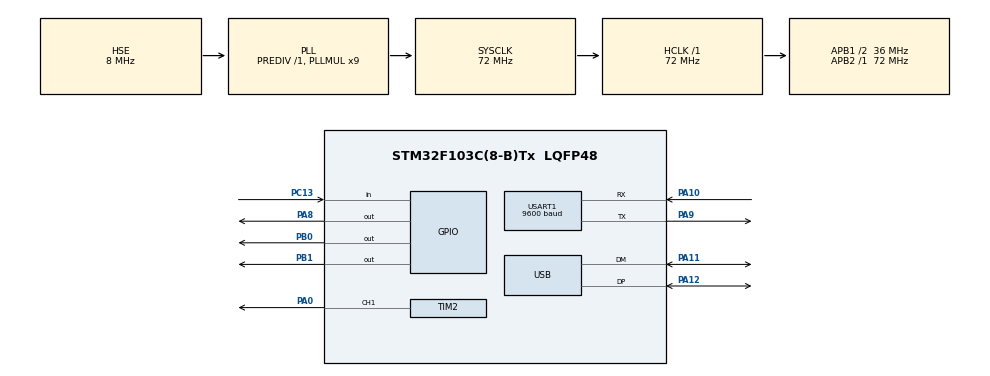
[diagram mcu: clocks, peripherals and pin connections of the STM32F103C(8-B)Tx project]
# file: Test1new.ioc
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Mcu.Family=STM32F1
Mcu.Name=STM32F103C(8-B)Tx
Mcu.Package=LQFP48
NVIC.PriorityGroup=NVIC_PRIORITYGROUP_4
NVIC.TIM2_IRQn=true\:0\:0\:false\:false\:true\:true\:true\:true
NVIC.USART1_IRQn=true\:0\:0\:false\:false\:true\:true\:true\:true
NVIC.USB_LP_CAN1_RX0_IRQn=true\:0\:0\:false\:false\:true\:false\:true\:true
PA0-WKUP.Signal=S_TIM2_CH1_ETR
PA10.Mode=Asynchronous
PA10.Signal=USART1_RX
PA11.Mode=Device
PA11.Signal=USB_DM
PA12.Mode=Device
PA12.Signal=USB_DP
PA8.Signal=GPIO_Output
PA9.Mode=Asynchronous
PA9.Signal=USART1_TX
PB0.Signal=GPIO_Output
PB1.Signal=GPIO_Output
PC13-TAMPER-RTC.GPIO_PuPd=GPIO_PULLUP
PC13-TAMPER-RTC.Signal=GPIO_Input
PD0-OSC_IN.Mode=HSE-External-Oscillator
PD0-OSC_IN.Signal=RCC_OSC_IN
PD1-OSC_OUT.Mode=HSE-External-Oscillator
PD1-OSC_OUT.Signal=RCC_OSC_OUT
ProjectManager.HeapSize=0x200
ProjectManager.StackSize=0x400
ProjectManager.TargetToolchain=CMake
RCC.AHBFreq_Value=72000000
RCC.APB1CLKDivider=RCC_HCLK_DIV2
RCC.APB1Freq_Value=36000000
RCC.APB1TimFreq_Value=72000000
RCC.APB2Freq_Value=72000000
RCC.APB2TimFreq_Value=72000000
RCC.HCLKFreq_Value=72000000
RCC.PLLMUL=RCC_PLL_MUL9
RCC.PLLSourceVirtual=RCC_PLLSOURCE_HSE
RCC.SYSCLKFreq_VALUE=72000000
RCC.SYSCLKSource=RCC_SYSCLKSOURCE_PLLCLK
RCC.USBFreq_Value=48000000
RCC.USBPrescaler=RCC_USBCLKSOURCE_PLL_DIV1_5
SH.S_TIM2_CH1_ETR.0=TIM2_CH1,Output Compare1 CH1
TIM2.Channel-Output\ Compare1\ CH1=TIM_CHANNEL_1
TIM2.Period=10
TIM2.Prescaler=7199
USART1.BaudRate=9600
USART1.VirtualMode=VM_ASYNC
USB_DEVICE.CLASS_NAME_FS=CDC
USB_DEVICE.VirtualMode=Cdc
USB_DEVICE.VirtualModeFS=Cdc_FS
VP_SYS_VS_ND.Mode=No_Debug
VP_TIM2_VS_ClockSourceINT.Mode=Internal
VP_USB_DEVICE_VS_USB_DEVICE_CDC_FS.Mode=CDC_FS
board=custom

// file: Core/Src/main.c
/* USER CODE BEGIN Header */
/**
  ******************************************************************************
  * @file           : main.c
  * @brief          : Main program body
  ******************************************************************************
  * @attention
  *
  * Copyright (c) 2024 STMicroelectronics.
  * All rights reserved.
  *
  * This software is licensed under terms that can be found in the LICENSE file
  * in the root directory of this software component.
  * If no LICENSE file comes with this software, it is provided AS-IS.
  *
  ******************************************************************************
  */
/* USER CODE END Header */
#include "main.h"
#include "usb_device.h"

/* USER CODE BEGIN Includes */
#include <stdio.h>      // add for printf
#include <string.h>
/* USER CODE END Includes */

TIM_HandleTypeDef htim2;

UART_HandleTypeDef huart1;

/* USER CODE BEGIN PV */
uint8_t uart_buf[1];
uint8_t uart_Morse_Token_index;
uint8_t ticks;  // timer2 ticks
uint8_t MorseMode = 0;
uint8_t SM_State; // State for the State Machine
uint8_t User_B_Pressed = 0;  // flag for button
/* USER CODE END PV */

void SystemClock_Config(void);
static void MX_GPIO_Init(void);
static void MX_USART1_UART_Init(void);
static void MX_TIM2_Init(void);

/* USER CODE BEGIN 0 */

#ifdef __GNUC__
#define PUTCHAR_PROTOTYPE int __io_putchar(int ch)
#else
#define PUTCHAR_PROTOTYPE int fputc(int ch, FILE *f)
#endif

/**
  * @brief  Retargets the C library printf function to the USART.
  * @param  None
  * @retval None
  */
PUTCHAR_PROTOTYPE
{
  HAL_UART_Transmit(&huart1, (uint8_t *)&ch, 1, 0xFFFF);
  return ch;
}

/* also redefine _write for printf*/
int _write(int fd, char * ptr, int len)
{
  HAL_UART_Transmit(&huart1, (uint8_t *) ptr, len, HAL_MAX_DELAY);
  return len;
}

/* Callback function for UART RX Complete: process incoming character*/
void HAL_UART_RxCpltCallback(UART_HandleTypeDef *huart)
{
  if(uart_buf[0] == '?'){
    printf("Sw Version %d.%d\r\n",SW_VERSION/10, SW_VERSION%10);
  }
  else{
    switch(uart_Morse_Token_index){
      case 0:
        if(uart_buf[0] == 'M'){
          uart_Morse_Token_index++;
          HAL_UART_Receive_IT(&huart1, uart_buf, 1); // reactivate interrupt for next char
          return;
        }
        break;
      case 1:
        if(uart_buf[0] == 'o'){
          uart_Morse_Token_index++;
          HAL_UART_Receive_IT(&huart1, uart_buf, 1); // reactivate interrupt for next char
          return;
        }
        break;
      case 2:
        if(uart_buf[0] == 'r'){
          uart_Morse_Token_index++;
          HAL_UART_Receive_IT(&huart1, uart_buf, 1); // reactivate interrupt for next char
          return;
        }
        break;
      case 3:
        if(uart_buf[0] == 's'){
          uart_Morse_Token_index++;
          HAL_UART_Receive_IT(&huart1, uart_buf, 1); // reactivate interrupt for next char
          return;
        }
        break;
      case 4:
        if(uart_buf[0] == 'e'){
          uart_Morse_Token_index = 0;
          MorseMode = 1;
          HAL_UART_Receive_IT(&huart1, uart_buf, 1); // reactivate interrupt for next char
          return;
        }
        break;
    }

    uart_Morse_Token_index = 0;
    uart_buf[0]++;  // increment received char to transmit next one
    HAL_UART_Transmit(&huart1, uart_buf, 1, 10);
  }

  HAL_UART_Receive_IT(&huart1, uart_buf, 1); // reactivate interrupt for next char
}

void Morse_Code_State_Switcher(){
  // Team code 17 = 3k+2  =>  mesaj = "hello 17"
  // t = 150ms
  const char morse_message[] = ".... . ._.. ._.. ___   .____ __...";
  uint8_t previous_SM_State = SM_State;
  for(int i = 0 ; i < 35 ; i++){
    switch(morse_message[i]){
      case '.':
        SM_State = SM_BLUE;
        HAL_Delay(75);
        SM_State = SM_OFF;
        HAL_Delay(75);
        break;
      case '_':
        SM_State = SM_YELLOW;
        HAL_Delay(375);
        SM_State = SM_OFF;
        HAL_Delay(75);
        break;
      case ' ':
        SM_State = SM_OFF;
        HAL_Delay(150);
        break;
    }
  }
  SM_State = previous_SM_State;
  MorseMode = 0;
}

/* Timer2 Interrupt Service Routine: Blinks LEDs */
// Team code 17 = 3k+2  =>  colors: BLUE, YELLOW, MAGENTA
void HAL_TIM_PeriodElapsedCallback(TIM_HandleTypeDef *htim2)
{
  if(ticks++ == 10)    // 1 timer2 tick = 1 ms
    ticks=0;   // reset
  switch (SM_State) {
    case SM_BLUE:
      HAL_GPIO_WritePin(RED_LED_BANK, RED_LED_PIN, 0);
      HAL_GPIO_WritePin(GREEN_LED_BANK, GREEN_LED_PIN, 0);
      HAL_GPIO_WritePin(BLUE_LED_BANK, BLUE_LED_PIN, 1);
      break;
    case SM_YELLOW:
      HAL_GPIO_WritePin(RED_LED_BANK, RED_LED_PIN, ticks < 8);
      HAL_GPIO_WritePin(GREEN_LED_BANK, GREEN_LED_PIN, ticks > 4);
      HAL_GPIO_WritePin(BLUE_LED_BANK, BLUE_LED_PIN, 0);
      break;
    case SM_MAGENTA:
      HAL_GPIO_WritePin(RED_LED_BANK, RED_LED_PIN, ticks < 5);
      HAL_GPIO_WritePin(GREEN_LED_BANK, GREEN_LED_PIN, 0);
      HAL_GPIO_WritePin(BLUE_LED_BANK, BLUE_LED_PIN, ticks > 4);
      break;
    case SM_OFF:
      HAL_GPIO_WritePin(RED_LED_BANK, RED_LED_PIN, 0);
      HAL_GPIO_WritePin(GREEN_LED_BANK, GREEN_LED_PIN, 0);
      HAL_GPIO_WritePin(BLUE_LED_BANK, BLUE_LED_PIN, 0);
      break;
  }  // case
}

/* USER CODE END 0 */

int main(void)
{
  /* USER CODE BEGIN 1 */
  /****************************************************************************/
  /********************************      MAIN        **************************/
  /****************************************************************************/

  /* USER CODE END 1 */

  /* MCU Configuration--------------------------------------------------------*/

  /* Reset of all peripherals, Initializes the Flash interface and the Systick. */
  HAL_Init();

  /* Configure the system clock */
  SystemClock_Config();

  /* Initialize all configured peripherals */
  MX_GPIO_Init();
  MX_USART1_UART_Init();
  MX_USB_DEVICE_Init();
  MX_TIM2_Init();
  /* USER CODE BEGIN 2 */
  HAL_UART_Receive_IT(&huart1, uart_buf, 1); // enable UART Rx IT=interrupt
  HAL_TIM_Base_Start_IT(&htim2);  //enable Timer 2 interrupt

  uart_Morse_Token_index = 0;
  MorseMode = 0;
  /* USER CODE END 2 */

  /* Infinite loop */
  /* USER CODE BEGIN WHILE */

  /*********************************** main loop *************************************************/
  while (1)
  {
    /* USER CODE END WHILE */

    /* USER CODE BEGIN 3 */
    if( HAL_GPIO_ReadPin(GPIOC, GPIO_PIN_13) == GPIO_PIN_RESET ) {     // PORTC.13 ==0 means button pressed
        HAL_Delay(25);                                                 // wait 25 milliseconds
        if( HAL_GPIO_ReadPin(GPIOC, GPIO_PIN_13) == GPIO_PIN_RESET ) { // then read again for debouncing
          while( HAL_GPIO_ReadPin(GPIOC, GPIO_PIN_13) == GPIO_PIN_RESET); // wait for button release
          User_B_Pressed = 1;
          printf("USER\n\r");
        }
    }

    if(MorseMode) Morse_Code_State_Switcher();        // Doing this here so that I don't have to bother with interrupt priorities.
                                                      // It also blocks out the following switch statement, which is ok because I
                                                      // want the USER button to not do anything while it's blinking morse code.

    switch(SM_State) {     // main State Machine
      case SM_START:
        printf("Code version %d.%d starting...\n\r", SW_VERSION/10, SW_VERSION%10);
        SM_State=SM_BLUE;
        break;

      case SM_BLUE:
        if(User_B_Pressed) {
          User_B_Pressed = 0; // reset flag because it was processed
          SM_State = SM_YELLOW;
        }
        break;

      case SM_YELLOW:
        if(User_B_Pressed) {
          User_B_Pressed = 0;
          SM_State = SM_MAGENTA;
        }
        break;

      case SM_MAGENTA:
        if(User_B_Pressed) {
          User_B_Pressed = 0;
          SM_State = SM_OFF;
        }
        break;

      case SM_OFF:
        if(User_B_Pressed) {
          User_B_Pressed = 0;
          SM_State = SM_BLUE;
        }
        break;

      default:  // this shouldn't happen
        SM_State = SM_START;
    } // switch

  }
  /* USER CODE END 3 */
}

void SystemClock_Config(void)
{
  RCC_OscInitTypeDef RCC_OscInitStruct = {0};
  RCC_ClkInitTypeDef RCC_ClkInitStruct = {0};
  RCC_PeriphCLKInitTypeDef PeriphClkInit = {0};

  /** Initializes the RCC Oscillators according to the specified parameters
  * in the RCC_OscInitTypeDef structure.
  */
  RCC_OscInitStruct.OscillatorType = RCC_OSCILLATORTYPE_HSE;
  RCC_OscInitStruct.HSEState = RCC_HSE_ON;
  RCC_OscInitStruct.HSEPredivValue = RCC_HSE_PREDIV_DIV1;
  RCC_OscInitStruct.HSIState = RCC_HSI_ON;
  RCC_OscInitStruct.PLL.PLLState = RCC_PLL_ON;
  RCC_OscInitStruct.PLL.PLLSource = RCC_PLLSOURCE_HSE;
  RCC_OscInitStruct.PLL.PLLMUL = RCC_PLL_MUL9;
  if (HAL_RCC_OscConfig(&RCC_OscInitStruct) != HAL_OK)
  {
    Error_Handler();
  }

  /** Initializes the CPU, AHB and APB buses clocks
  */
  RCC_ClkInitStruct.ClockType = RCC_CLOCKTYPE_HCLK|RCC_CLOCKTYPE_SYSCLK
                              |RCC_CLOCKTYPE_PCLK1|RCC_CLOCKTYPE_PCLK2;
  RCC_ClkInitStruct.SYSCLKSource = RCC_SYSCLKSOURCE_PLLCLK;
  RCC_ClkInitStruct.AHBCLKDivider = RCC_SYSCLK_DIV1;
  RCC_ClkInitStruct.APB1CLKDivider = RCC_HCLK_DIV2;
  RCC_ClkInitStruct.APB2CLKDivider = RCC_HCLK_DIV1;

  if (HAL_RCC_ClockConfig(&RCC_ClkInitStruct, FLASH_LATENCY_2) != HAL_OK)
  {
    Error_Handler();
  }
  PeriphClkInit.PeriphClockSelection = RCC_PERIPHCLK_USB;
  PeriphClkInit.UsbClockSelection = RCC_USBCLKSOURCE_PLL_DIV1_5;
  if (HAL_RCCEx_PeriphCLKConfig(&PeriphClkInit) != HAL_OK)
  {
    Error_Handler();
  }
}

static void MX_TIM2_Init(void)
{

  TIM_ClockConfigTypeDef sClockSourceConfig = {0};
  TIM_MasterConfigTypeDef sMasterConfig = {0};
  TIM_OC_InitTypeDef sConfigOC = {0};

  htim2.Instance = TIM2;
  htim2.Init.Prescaler = 7199;
  htim2.Init.CounterMode = TIM_COUNTERMODE_UP;
  htim2.Init.Period = 10;
  htim2.Init.ClockDivision = TIM_CLOCKDIVISION_DIV1;
  htim2.Init.AutoReloadPreload = TIM_AUTORELOAD_PRELOAD_DISABLE;
  if (HAL_TIM_Base_Init(&htim2) != HAL_OK)
  {
    Error_Handler();
  }
  sClockSourceConfig.ClockSource = TIM_CLOCKSOURCE_INTERNAL;
  if (HAL_TIM_ConfigClockSource(&htim2, &sClockSourceConfig) != HAL_OK)
  {
    Error_Handler();
  }
  if (HAL_TIM_OC_Init(&htim2) != HAL_OK)
  {
    Error_Handler();
  }
  sMasterConfig.MasterOutputTrigger = TIM_TRGO_RESET;
  sMasterConfig.MasterSlaveMode = TIM_MASTERSLAVEMODE_DISABLE;
  if (HAL_TIMEx_MasterConfigSynchronization(&htim2, &sMasterConfig) != HAL_OK)
  {
    Error_Handler();
  }
  sConfigOC.OCMode = TIM_OCMODE_TIMING;
  sConfigOC.Pulse = 0;
  sConfigOC.OCPolarity = TIM_OCPOLARITY_HIGH;
  sConfigOC.OCFastMode = TIM_OCFAST_DISABLE;
  if (HAL_TIM_OC_ConfigChannel(&htim2, &sConfigOC, TIM_CHANNEL_1) != HAL_OK)
  {
    Error_Handler();
  }
  HAL_TIM_MspPostInit(&htim2);

}

static void MX_USART1_UART_Init(void)
{

  huart1.Instance = USART1;
  huart1.Init.BaudRate = 9600;
  huart1.Init.WordLength = UART_WORDLENGTH_8B;
  huart1.Init.StopBits = UART_STOPBITS_1;
  huart1.Init.Parity = UART_PARITY_NONE;
  huart1.Init.Mode = UART_MODE_TX_RX;
  huart1.Init.HwFlowCtl = UART_HWCONTROL_NONE;
  huart1.Init.OverSampling = UART_OVERSAMPLING_16;
  if (HAL_UART_Init(&huart1) != HAL_OK)
  {
    Error_Handler();
  }

}

static void MX_GPIO_Init(void)
{
  GPIO_InitTypeDef GPIO_InitStruct = {0};

  /* GPIO Ports Clock Enable */
  __HAL_RCC_GPIOC_CLK_ENABLE();
  __HAL_RCC_GPIOD_CLK_ENABLE();
  __HAL_RCC_GPIOA_CLK_ENABLE();
  __HAL_RCC_GPIOB_CLK_ENABLE();

  /*Configure GPIO pin Output Level */
  HAL_GPIO_WritePin(GPIOB, GPIO_PIN_0|GPIO_PIN_1, GPIO_PIN_RESET);

  /*Configure GPIO pin Output Level */
  HAL_GPIO_WritePin(GPIOA, GPIO_PIN_8, GPIO_PIN_RESET);

  /*Configure GPIO pin : PC13 */
  GPIO_InitStruct.Pin = GPIO_PIN_13;
  GPIO_InitStruct.Mode = GPIO_MODE_INPUT;
  GPIO_InitStruct.Pull = GPIO_PULLUP;
  HAL_GPIO_Init(GPIOC, &GPIO_InitStruct);

  /*Configure GPIO pins : PB0 PB1 */
  GPIO_InitStruct.Pin = GPIO_PIN_0|GPIO_PIN_1;
  GPIO_InitStruct.Mode = GPIO_MODE_OUTPUT_PP;
  GPIO_InitStruct.Pull = GPIO_NOPULL;
  GPIO_InitStruct.Speed = GPIO_SPEED_FREQ_LOW;
  HAL_GPIO_Init(GPIOB, &GPIO_InitStruct);

  /*Configure GPIO pin : PA8 */
  GPIO_InitStruct.Pin = GPIO_PIN_8;
  GPIO_InitStruct.Mode = GPIO_MODE_OUTPUT_PP;
  GPIO_InitStruct.Pull = GPIO_NOPULL;
  GPIO_InitStruct.Speed = GPIO_SPEED_FREQ_LOW;
  HAL_GPIO_Init(GPIOA, &GPIO_InitStruct);

}

void Error_Handler(void)
{
  __disable_irq();
  while (1)
  {
  }
}
